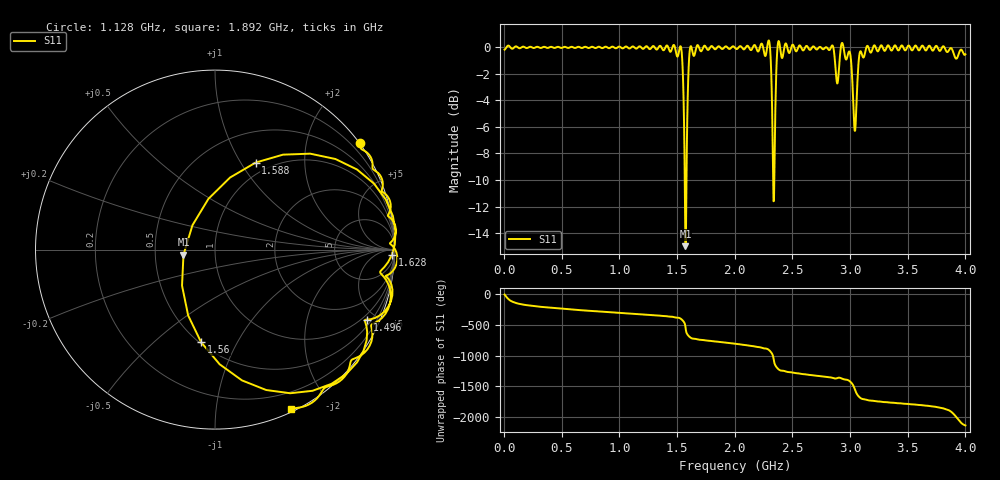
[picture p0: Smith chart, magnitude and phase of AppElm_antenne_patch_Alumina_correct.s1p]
! TOUCHSTONE file generated by CST MICROWAVE STUDIO
! Date and time: Thu Jun  9 07:20:27 2022
! Project name: AppElm_antenne_patch_Alumina.cst
! Parameters = {L=30.5; W=41.8; e=0.035; h=1.6; lambda=0.190476; ls=90; w0=1.12; w1=0.373; ws=90; y0=14; y1=10}
! Header version: 2018
! Port assignment regex: !\s*Touchstone port\s*([0-9]+)\s*=\s*(CST MWS port|CST DS port)\s*([0-9]+|Zmin|Zmax)\s*\(\"(.*)\"\)(\s*mode\s*([0-9]+))?.*
! Touchstone port assignment:
! Touchstone port 1 = CST MWS port 1 ("")
# GHz S MA R 50
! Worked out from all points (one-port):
!   1000 points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, 4 MHz to 4 GHz, reference 50 ohm
!   lowest |S11| = -15.0 dB at 1.572 GHz (marker M1), VSWR 1.43, Z = 35 - j2.09 ohm
!   |S11| at or under -10 dB: 1.566 GHz to 1.581 GHz (14.73 MHz wide, 0.936 % of centre); 2.333238 GHz to 2.342656 GHz (9.418 MHz wide, 0.403 % of centre)
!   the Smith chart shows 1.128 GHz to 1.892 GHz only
!   S11 on the Smith chart (normalised r, x): 1.128 GHz: -0.01, +3.05; 1.496 GHz: 0.73, -4.46; 1.56 GHz: 0.51, -0.72; 1.588 GHz: 0.86, +1.16; 1.628 GHz: 28, -58; 1.892 GHz: 0.02, -1.58
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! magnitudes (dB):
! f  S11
! 4 MHz  -0.2
! 504 MHz  0.0
! 1.004 GHz  0.0
! 1.128 GHz  0.0
! 1.496 GHz  -0.6
! 1.504 GHz  -0.7
! 1.536 GHz  -0.1
! 1.56 GHz  -5.6
! 1.572 GHz  -15.0
! 1.588 GHz  -5.4
! 1.608 GHz  -0.4
! 1.628 GHz  -0.1
! 1.892 GHz  -0.1
! 2.004 GHz  -0.1
! 2.292 GHz  0.5
! 2.304 GHz  0.1
! 2.336 GHz  -11.6
! 2.348 GHz  -6.7
! 2.38 GHz  0.5
! 2.504 GHz  0.2
! 2.84 GHz  0.1
! 2.888 GHz  -2.7
! 2.932 GHz  0.3
! 3.004 GHz  -0.7
! 3.044 GHz  -6.3
! 3.096 GHz  -0.3
! 3.504 GHz  0.1
! 4 GHz  -0.5
